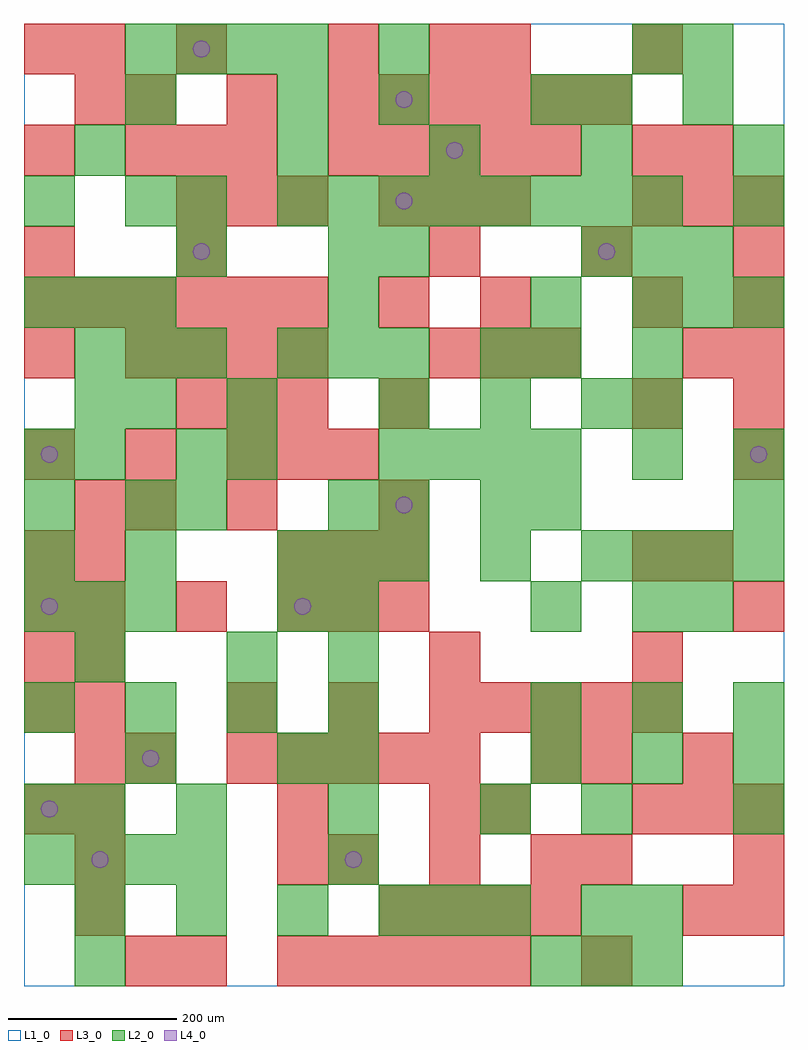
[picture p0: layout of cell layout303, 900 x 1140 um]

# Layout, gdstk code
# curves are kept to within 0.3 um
import gdstk
lib = gdstk.Library(unit=1e-6, precision=1e-09)
def R(c, l, rs):  # rectangles x0, y0, x1, y1
    for r in rs: c.add(gdstk.rectangle(r[:2], r[2:], *l))
def A(c, l, x, y, w, h, nx, ny, dx, dy):  # array of equal rectangles
    R(c, l, [(x+i*dx, y+j*dy, x+i*dx+w, y+j*dy+h) for i in range(nx) for j in range(ny)])
def P(c, l, *ps):  # polygons
    for p in ps: c.add(gdstk.Polygon(p, *l))
L1_0 = (1, 0)
L2_0 = (2, 0)
L3_0 = (3, 0)
L4_0 = (4, 0)

layout303 = lib.new_cell('layout303')
R(layout303, L1_0, [(0,0,900,1140)])
A(layout303, L2_0, 60, 0, 60, 60, 1, 3, 0, 180)
A(layout303, L2_0, 600, 0, 60, 60, 3, 1, 60, 0)
A(layout303, L2_0, 60, 60, 60, 60, 4, 1, 120, 0)
A(layout303, L2_0, 0, 120, 60, 60, 4, 1, 60, 0)
A(layout303, L2_0, 360, 120, 60, 60, 1, 3, 0, 120)
A(layout303, L2_0, 180, 180, 60, 60, 3, 1, 180, 0)
A(layout303, L2_0, 600, 240, 60, 60, 3, 2, 120, 60)
A(layout303, L2_0, 0, 300, 60, 60, 4, 1, 120, 0)
A(layout303, L2_0, 0, 420, 60, 60, 3, 2, 60, 360)
A(layout303, L2_0, 0, 480, 60, 60, 1, 3, 0, 60)
A(layout303, L2_0, 300, 480, 60, 60, 3, 2, 60, 240)
A(layout303, L2_0, 660, 480, 60, 60, 4, 1, 60, 0)
A(layout303, L2_0, 420, 600, 60, 60, 4, 1, 60, 0)
A(layout303, L2_0, 720, 600, 60, 60, 1, 3, 0, 60)
A(layout303, L2_0, 420, 660, 60, 60, 3, 1, 120, 0)
A(layout303, L2_0, 60, 720, 60, 60, 3, 1, 60, 0)
A(layout303, L2_0, 720, 780, 60, 60, 3, 1, 60, 0)
A(layout303, L2_0, 660, 840, 60, 60, 3, 1, 60, 0)
A(layout303, L2_0, 300, 900, 60, 60, 8, 1, 60, 0)
A(layout303, L2_0, 300, 960, 60, 60, 4, 1, 180, 0)
A(layout303, L2_0, 120, 1080, 60, 60, 4, 1, 60, 0)
R(layout303, L2_0, [(480,60,540,120), (540,60,600,120), (660,60,720,120), (720,60,780,120), (0,180,60,240), (660,180,720,240), (840,180,900,240), (120,240,180,300), (300,240,360,300), (240,360,300,420), (300,420,360,480), (360,420,420,480), (600,420,660,480), (720,420,780,480), (780,420,840,480), (120,480,180,540), (540,480,600,540), (120,540,180,600), (180,540,240,600), (360,540,420,600), (420,540,480,600), (540,540,600,600), (600,540,660,600), (840,540,900,600), (60,600,120,660), (180,600,240,660), (240,600,300,660), (840,600,900,660), (60,660,120,720), (120,660,180,720), (240,660,300,720), (540,720,600,780), (600,720,660,780), (360,780,420,840), (600,780,660,840), (180,840,240,900), (360,840,420,900), (420,840,480,900), (0,900,60,960), (120,900,180,960), (180,900,240,960), (840,900,900,960), (60,960,120,1020), (120,1020,180,1080), (300,1020,360,1080), (420,1020,480,1080), (600,1020,660,1080), (660,1020,720,1080), (780,1020,840,1080), (420,1080,480,1140), (720,1080,780,1140), (780,1080,840,1140)])
A(layout303, L3_0, 300, 0, 60, 60, 5, 1, 60, 0)
A(layout303, L3_0, 660, 0, 60, 60, 1, 3, 0, 120)
A(layout303, L3_0, 60, 60, 60, 60, 1, 6, 0, 60)
A(layout303, L3_0, 420, 60, 60, 60, 4, 1, 60, 0)
A(layout303, L3_0, 360, 120, 60, 60, 3, 1, 120, 0)
A(layout303, L3_0, 720, 180, 60, 60, 3, 2, 60, 720)
A(layout303, L3_0, 240, 240, 60, 60, 5, 1, 60, 0)
A(layout303, L3_0, 780, 240, 60, 60, 1, 4, 0, 240)
A(layout303, L3_0, 0, 300, 60, 60, 1, 4, 0, 60)
A(layout303, L3_0, 240, 300, 60, 60, 3, 1, 120, 0)
A(layout303, L3_0, 540, 300, 60, 60, 4, 1, 60, 0)
A(layout303, L3_0, 60, 420, 60, 60, 3, 1, 120, 0)
A(layout303, L3_0, 420, 420, 60, 60, 1, 4, 0, 120)
A(layout303, L3_0, 300, 480, 60, 60, 3, 1, 60, 0)
A(layout303, L3_0, 0, 600, 60, 60, 3, 1, 120, 0)
A(layout303, L3_0, 840, 600, 60, 60, 1, 4, 0, 60)
A(layout303, L3_0, 180, 660, 60, 60, 3, 2, 60, 240)
A(layout303, L3_0, 0, 720, 60, 60, 1, 4, 0, 120)
A(layout303, L3_0, 120, 720, 60, 60, 4, 1, 60, 0)
A(layout303, L3_0, 480, 720, 60, 60, 3, 1, 60, 0)
A(layout303, L3_0, 0, 780, 60, 60, 6, 1, 60, 0)
A(layout303, L3_0, 480, 840, 60, 60, 3, 1, 180, 0)
A(layout303, L3_0, 420, 900, 60, 60, 3, 1, 60, 0)
A(layout303, L3_0, 120, 960, 60, 60, 3, 1, 60, 0)
A(layout303, L3_0, 360, 960, 60, 60, 5, 1, 60, 0)
A(layout303, L3_0, 120, 1020, 60, 60, 3, 1, 120, 0)
A(layout303, L3_0, 420, 1020, 60, 60, 5, 1, 60, 0)
R(layout303, L3_0, [(120,0,180,60), (180,0,240,60), (780,60,840,120), (840,60,900,120), (300,120,360,180), (840,120,900,180), (0,180,60,240), (300,180,360,240), (480,180,540,240), (540,180,600,240), (120,240,180,300), (600,240,660,300), (480,360,540,420), (720,360,780,420), (360,420,420,480), (840,420,900,480), (60,480,120,540), (720,480,780,540), (60,540,120,600), (120,540,180,600), (240,540,300,600), (300,600,360,660), (360,600,420,660), (720,660,780,720), (540,780,600,840), (720,780,780,840), (180,840,240,900), (720,960,780,1020), (60,1020,120,1080), (60,1080,120,1140), (180,1080,240,1140), (360,1080,420,1140), (480,1080,540,1140), (540,1080,600,1140), (720,1080,780,1140)])
P(layout303, L4_0, [(40,210),(39.239,213.827),(37.071,217.071),(33.827,219.239),(30,220),(26.173,219.239),(22.929,217.071),(20.761,213.827),(20,210),(20.761,206.173),(22.929,202.929),(26.173,200.761),(30,200),(33.827,200.761),(37.071,202.929),(39.239,206.173)],
  [(40,450),(39.239,453.827),(37.071,457.071),(33.827,459.239),(30,460),(26.173,459.239),(22.929,457.071),(20.761,453.827),(20,450),(20.761,446.173),(22.929,442.929),(26.173,440.761),(30,440),(33.827,440.761),(37.071,442.929),(39.239,446.173)],
  [(40,630),(39.239,633.827),(37.071,637.071),(33.827,639.239),(30,640),(26.173,639.239),(22.929,637.071),(20.761,633.827),(20,630),(20.761,626.173),(22.929,622.929),(26.173,620.761),(30,620),(33.827,620.761),(37.071,622.929),(39.239,626.173)],
  [(100,150),(99.239,153.827),(97.071,157.071),(93.827,159.239),(90,160),(86.173,159.239),(82.929,157.071),(80.761,153.827),(80,150),(80.761,146.173),(82.929,142.929),(86.173,140.761),(90,140),(93.827,140.761),(97.071,142.929),(99.239,146.173)],
  [(160,270),(159.239,273.827),(157.071,277.071),(153.827,279.239),(150,280),(146.173,279.239),(142.929,277.071),(140.761,273.827),(140,270),(140.761,266.173),(142.929,262.929),(146.173,260.761),(150,260),(153.827,260.761),(157.071,262.929),(159.239,266.173)],
  [(220,870),(219.239,873.827),(217.071,877.071),(213.827,879.239),(210,880),(206.173,879.239),(202.929,877.071),(200.761,873.827),(200,870),(200.761,866.173),(202.929,862.929),(206.173,860.761),(210,860),(213.827,860.761),(217.071,862.929),(219.239,866.173)],
  [(220,1110),(219.239,1113.827),(217.071,1117.071),(213.827,1119.239),(210,1120),(206.173,1119.239),(202.929,1117.071),(200.761,1113.827),(200,1110),(200.761,1106.173),(202.929,1102.929),(206.173,1100.761),(210,1100),(213.827,1100.761),(217.071,1102.929),(219.239,1106.173)],
  [(340,450),(339.239,453.827),(337.071,457.071),(333.827,459.239),(330,460),(326.173,459.239),(322.929,457.071),(320.761,453.827),(320,450),(320.761,446.173),(322.929,442.929),(326.173,440.761),(330,440),(333.827,440.761),(337.071,442.929),(339.239,446.173)],
  [(400,150),(399.239,153.827),(397.071,157.071),(393.827,159.239),(390,160),(386.173,159.239),(382.929,157.071),(380.761,153.827),(380,150),(380.761,146.173),(382.929,142.929),(386.173,140.761),(390,140),(393.827,140.761),(397.071,142.929),(399.239,146.173)],
  [(460,570),(459.239,573.827),(457.071,577.071),(453.827,579.239),(450,580),(446.173,579.239),(442.929,577.071),(440.761,573.827),(440,570),(440.761,566.173),(442.929,562.929),(446.173,560.761),(450,560),(453.827,560.761),(457.071,562.929),(459.239,566.173)],
  [(460,930),(459.239,933.827),(457.071,937.071),(453.827,939.239),(450,940),(446.173,939.239),(442.929,937.071),(440.761,933.827),(440,930),(440.761,926.173),(442.929,922.929),(446.173,920.761),(450,920),(453.827,920.761),(457.071,922.929),(459.239,926.173)],
  [(460,1050),(459.239,1053.827),(457.071,1057.071),(453.827,1059.239),(450,1060),(446.173,1059.239),(442.929,1057.071),(440.761,1053.827),(440,1050),(440.761,1046.173),(442.929,1042.929),(446.173,1040.761),(450,1040),(453.827,1040.761),(457.071,1042.929),(459.239,1046.173)],
  [(520,990),(519.239,993.827),(517.071,997.071),(513.827,999.239),(510,1000),(506.173,999.239),(502.929,997.071),(500.761,993.827),(500,990),(500.761,986.173),(502.929,982.929),(506.173,980.761),(510,980),(513.827,980.761),(517.071,982.929),(519.239,986.173)],
  [(700,870),(699.239,873.827),(697.071,877.071),(693.827,879.239),(690,880),(686.173,879.239),(682.929,877.071),(680.761,873.827),(680,870),(680.761,866.173),(682.929,862.929),(686.173,860.761),(690,860),(693.827,860.761),(697.071,862.929),(699.239,866.173)],
  [(880,630),(879.239,633.827),(877.071,637.071),(873.827,639.239),(870,640),(866.173,639.239),(862.929,637.071),(860.761,633.827),(860,630),(860.761,626.173),(862.929,622.929),(866.173,620.761),(870,620),(873.827,620.761),(877.071,622.929),(879.239,626.173)])

lib.write_gds('layout303.gds')
